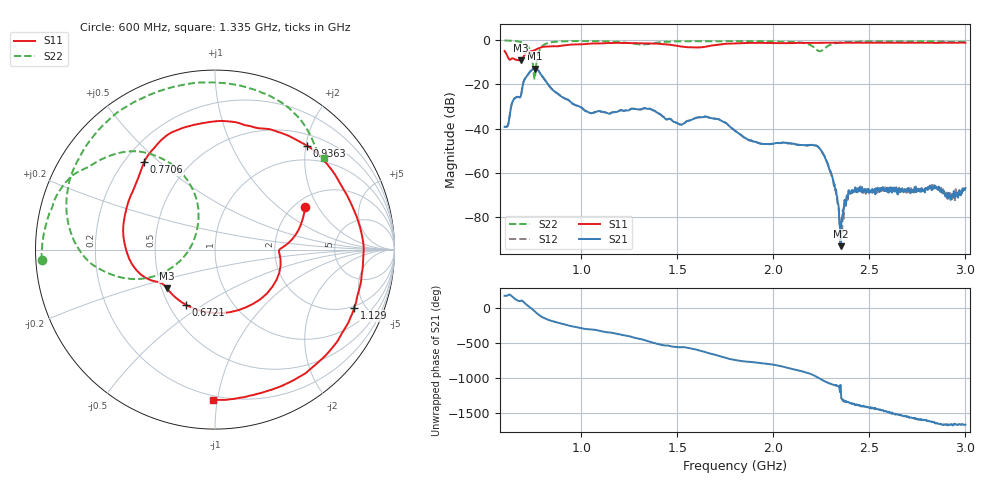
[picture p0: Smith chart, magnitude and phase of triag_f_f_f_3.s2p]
#  HZ  S  RI  R  50.00
! Rohde & Schwarz ZVB8 2Ports - Version 2.81 - 1145.1010k08 SN: 100113
! Date: 2016-05-03 01:38:17
! Measurements: S11 S21 S12 S22
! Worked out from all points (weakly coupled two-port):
!   1000 points, 600 MHz to 3 GHz, reference 50 ohm
!   highest |S21| = -12.92 dB at 756.2 MHz (marker M1); lowest = -92.9 dB at 2.351 GHz (marker M2)
!   lowest |S11| = -9.3 dB at 684.1 MHz (marker M3), VSWR 2.05, Z = 26.6 - j13 ohm
!   |S11| at or under -10 dB: nowhere
!   |S22| runs from -17.9 to -0.3 dB; largest |S21 - S12| = 0.0034
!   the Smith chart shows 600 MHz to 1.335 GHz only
!   S11 on the Smith chart (normalised r, x): 600 MHz: 2.27, +1.57; 672.1 MHz: 0.61, -0.43; 770.6 MHz: 0.28, +0.45; 936.3 MHz: 0.70, +2.01; 1.129 GHz: 1.87, -4.16; 1.335 GHz: 0.17, -0.97
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6e8  0.5032 0.2391  -0.0108 0.0019  -0.0107 0.00192  -0.9662 -0.0592
6.720721e8  -0.1609 -0.3083  -0.00609 0.0514  -0.0064 0.0513  -0.8563 0.3418
6.840841e8  -0.2691 -0.2146  -0.0084 0.0532  -0.00852 0.0531  -0.79 0.4159
7.273273e8  -0.5034 0.1839  0.1731 0.0492  0.1718 0.0523  -0.3609 0.5332
7.561562e8  -0.4301 0.3929  0.1414 -0.1763  0.1417 -0.1753  -0.1206 0.0429
7.705706e8  -0.3942 0.488  0.0161 -0.2136  0.0179 -0.2133  -0.3703 -0.1569
8.21021e8  -0.0911 0.7006  -0.1047 -0.0246  -0.1043 -0.0248  -0.82 0.159
9.363363e8  0.5107 0.5795  -0.00918 0.0417  -0.00931 0.0415  -0.6067 0.7088
1.001201e9  0.7298 0.3131  0.0127 0.0269  0.0125 0.0269  -0.3819 0.8548
1.128529e9  0.7754 -0.3256  0.0226 0.00422  0.0226 0.00435  0.1227 0.9175
1.335135e9  -0.0138 -0.8363  -0.00962 -0.0268  -0.00952 -0.0268  0.6062 0.5102
1.4e9  -0.2958 -0.7601  -0.0209 -0.00769  -0.0209 -0.00773  0.7729 0.4076
1.570571e9  -0.5945 -0.3235  -0.0116 0.0104  -0.0116 0.0103  0.8996 -0.2456
1.801201e9  -0.7845 0.2848  0.00784 -0.00412  0.00788 -0.00415  0.3665 -0.8521
2.000601e9  -0.2459 0.8076  -0.000411 -0.00453  -0.000277 -0.00462  -0.2765 -0.8802
2.2e9  0.4892 0.6997  -0.00253 0.0035  -0.00252 0.00348  -0.6421 -0.3542
2.272072e9  0.7025 0.4928  0.00191 0.000828  0.00188 0.000788  -0.459 -0.488
2.351351e9  0.8381 0.1866  -6.9e-06 -2.15e-05  3.98e-05 4.19e-05  -0.7517 -0.4407
2.404204e9  0.8614 -0.0413  8.64e-05 0.000369  9.3e-05 0.000368  -0.8487 -0.307
2.601201e9  0.4611 -0.7281  0.00025 -0.000387  0.0002 -0.000366  -0.9057 0.1778
2.786186e9  -0.2243 -0.8297  -0.00042 -0.000122  -0.000402 -7.74e-05  -0.72 0.5686
3e9  -0.7806 -0.3672  -0.00029 0.000356  -0.000229 0.000412  -0.3168 0.8513
